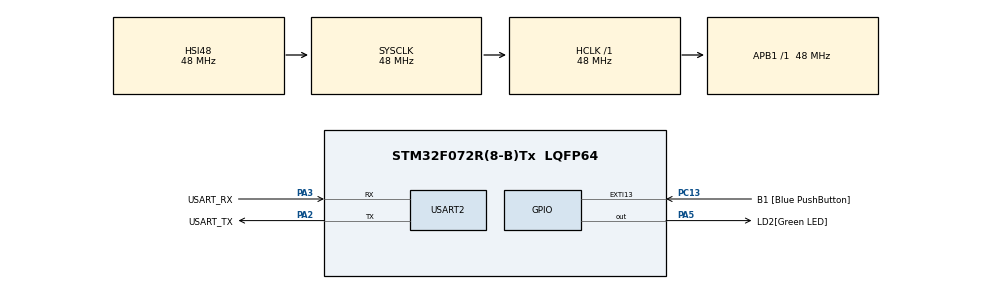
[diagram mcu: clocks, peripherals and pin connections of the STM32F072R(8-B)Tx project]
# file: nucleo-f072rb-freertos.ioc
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FREERTOS.Tasks01=uartTask,24,128,StartUARTTask,Default,NULL,Dynamic,NULL,NULL;blinkTask,16,128,StartBlinkTask,Default,NULL,Dynamic,NULL,NULL
FREERTOS.configTOTAL_HEAP_SIZE=8192
FREERTOS.configUSE_NEWLIB_REENTRANT=1
Mcu.Family=STM32F0
Mcu.Name=STM32F072R(8-B)Tx
Mcu.Package=LQFP64
NVIC.TIM6_DAC_IRQn=true\:3\:0\:false\:false\:true\:false\:false\:true\:true
NVIC.TimeBase=TIM6_DAC_IRQn
NVIC.TimeBaseIP=TIM6
NVIC.USART2_IRQn=true\:3\:0\:false\:false\:true\:true\:true\:true\:true
PA13.GPIO_Label=TMS
PA13.Mode=Serial_Wire
PA13.Signal=SYS_SWDIO
PA14.GPIO_Label=TCK
PA14.Mode=Serial_Wire
PA14.Signal=SYS_SWCLK
PA2.GPIO_Label=USART_TX
PA2.GPIO_Mode=GPIO_MODE_AF_PP
PA2.GPIO_PuPd=GPIO_NOPULL
PA2.GPIO_Speed=GPIO_SPEED_FREQ_LOW
PA2.Mode=Asynchronous
PA2.Signal=USART2_TX
PA3.GPIO_Label=USART_RX
PA3.GPIO_Mode=GPIO_MODE_AF_PP
PA3.GPIO_PuPd=GPIO_NOPULL
PA3.GPIO_Speed=GPIO_SPEED_FREQ_LOW
PA3.Mode=Asynchronous
PA3.Signal=USART2_RX
PA5.GPIO_Label=LD2[Green LED]
PA5.Signal=GPIO_Output
PC13.GPIO_Label=B1 [Blue PushButton]
PC13.GPIO_ModeDefaultEXTI=GPIO_MODE_IT_FALLING
PC13.Signal=GPXTI13
PC14-OSC32_IN.Mode=LSE-External-Oscillator
PC14-OSC32_IN.Signal=RCC_OSC32_IN
PC15-OSC32_OUT.Mode=LSE-External-Oscillator
PC15-OSC32_OUT.Signal=RCC_OSC32_OUT
PF0-OSC_IN.Mode=HSE-External-Clock-Source
PF0-OSC_IN.Signal=RCC_OSC_IN
PF1-OSC_OUT.Signal=RCC_OSC_OUT
ProjectManager.HeapSize=0x200
ProjectManager.StackSize=0x400
ProjectManager.TargetToolchain=STM32CubeIDE
RCC.AHBFreq_Value=48000000
RCC.APB1Freq_Value=48000000
RCC.APB1TimFreq_Value=48000000
RCC.FLatency-AdvancedSettings=FLASH_LATENCY_1
RCC.HCLKFreq_Value=48000000
RCC.PLLDivider=RCC_PREDIV_DIV2
RCC.PLLMUL=RCC_PLL_MUL12
RCC.PREFETCH_ENABLE-AdvancedSettings=1
RCC.SYSCLKFreq_VALUE=48000000
RCC.SYSCLKSource=RCC_SYSCLKSOURCE_HSI48
USART2.VirtualMode=VM_ASYNC
USART2.VirtualMode-Asynchronous=VM_ASYNC
VP_FREERTOS_VS_CMSIS_V2.Mode=CMSIS_V2
VP_SYS_VS_tim6.Mode=TIM6
board=NUCLEO-F072RB

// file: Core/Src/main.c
/* USER CODE BEGIN Header */
/**
  ******************************************************************************
  * @file           : main.c
  * @brief          : Main program body
  ******************************************************************************
  * @attention
  *
  * Copyright (c) 2025 STMicroelectronics.
  * All rights reserved.
  *
  * This software is licensed under terms that can be found in the LICENSE file
  * in the root directory of this software component.
  * If no LICENSE file comes with this software, it is provided AS-IS.
  *
  ******************************************************************************
  */
/* USER CODE END Header */
#include "main.h"
#include "cmsis_os.h"

/* USER CODE BEGIN Includes */
#include<stdio.h>
#include <string.h>
#include <stdbool.h>
#include "FreeRTOS.h"
#include <stdlib.h>
#include "task.h"
/* USER CODE END Includes */

UART_HandleTypeDef huart2;

/* Definitions for uartTask */
osThreadId_t uartTaskHandle;
const osThreadAttr_t uartTask_attributes = {
  .name = "uartTask",
  .stack_size = 128 * 4,
  .priority = (osPriority_t) osPriorityNormal,
};
/* Definitions for blinkTask */
osThreadId_t blinkTaskHandle;
const osThreadAttr_t blinkTask_attributes = {
  .name = "blinkTask",
  .stack_size = 128 * 4,
  .priority = (osPriority_t) osPriorityBelowNormal,
};

/* USER CODE BEGIN PV */
uint8_t tx_buf[64];
uint8_t rx_byte;
char rx_line[32];
uint8_t idx = 0;
volatile bool delay_ready = false;
volatile uint32_t led_delay = 1000;
/* USER CODE END PV */

void SystemClock_Config(void);
static void MX_GPIO_Init(void);
static void MX_USART2_UART_Init(void);
void StartUARTTask(void *argument);
void StartBlinkTask(void *argument);

int main(void)
{

  /* MCU Configuration--------------------------------------------------------*/

  /* Reset of all peripherals, Initializes the Flash interface and the Systick. */
  HAL_Init();

  /* Configure the system clock */
  SystemClock_Config();

  /* Initialize all configured peripherals */
  MX_GPIO_Init();
  MX_USART2_UART_Init();

  /* Init scheduler */
  osKernelInitialize();

  /* Create the thread(s) */
  /* creation of uartTask */
  uartTaskHandle = osThreadNew(StartUARTTask, NULL, &uartTask_attributes);

  /* creation of blinkTask */
  blinkTaskHandle = osThreadNew(StartBlinkTask, NULL, &blinkTask_attributes);

  /* Start scheduler */
  osKernelStart();

  /* We should never get here as control is now taken by the scheduler */

  /* Infinite loop */
  while (1)
  {

  }
}

void SystemClock_Config(void)
{
  RCC_OscInitTypeDef RCC_OscInitStruct = {0};
  RCC_ClkInitTypeDef RCC_ClkInitStruct = {0};
  RCC_PeriphCLKInitTypeDef PeriphClkInit = {0};

  /** Initializes the RCC Oscillators according to the specified parameters
  * in the RCC_OscInitTypeDef structure.
  */
  RCC_OscInitStruct.OscillatorType = RCC_OSCILLATORTYPE_HSI48;
  RCC_OscInitStruct.HSI48State = RCC_HSI48_ON;
  RCC_OscInitStruct.PLL.PLLState = RCC_PLL_NONE;
  if (HAL_RCC_OscConfig(&RCC_OscInitStruct) != HAL_OK)
  {
    Error_Handler();
  }

  /** Initializes the CPU, AHB and APB buses clocks
  */
  RCC_ClkInitStruct.ClockType = RCC_CLOCKTYPE_HCLK|RCC_CLOCKTYPE_SYSCLK
                              |RCC_CLOCKTYPE_PCLK1;
  RCC_ClkInitStruct.SYSCLKSource = RCC_SYSCLKSOURCE_HSI48;
  RCC_ClkInitStruct.AHBCLKDivider = RCC_SYSCLK_DIV1;
  RCC_ClkInitStruct.APB1CLKDivider = RCC_HCLK_DIV1;

  if (HAL_RCC_ClockConfig(&RCC_ClkInitStruct, FLASH_LATENCY_1) != HAL_OK)
  {
    Error_Handler();
  }
  PeriphClkInit.PeriphClockSelection = RCC_PERIPHCLK_USART2;
  PeriphClkInit.Usart2ClockSelection = RCC_USART2CLKSOURCE_PCLK1;
  if (HAL_RCCEx_PeriphCLKConfig(&PeriphClkInit) != HAL_OK)
  {
    Error_Handler();
  }
}

static void MX_USART2_UART_Init(void)
{

  huart2.Instance = USART2;
  huart2.Init.BaudRate = 38400;
  huart2.Init.WordLength = UART_WORDLENGTH_8B;
  huart2.Init.StopBits = UART_STOPBITS_1;
  huart2.Init.Parity = UART_PARITY_NONE;
  huart2.Init.Mode = UART_MODE_TX_RX;
  huart2.Init.HwFlowCtl = UART_HWCONTROL_NONE;
  huart2.Init.OverSampling = UART_OVERSAMPLING_16;
  huart2.Init.OneBitSampling = UART_ONE_BIT_SAMPLE_DISABLE;
  huart2.AdvancedInit.AdvFeatureInit = UART_ADVFEATURE_NO_INIT;
  if (HAL_UART_Init(&huart2) != HAL_OK)
  {
    Error_Handler();
  }

}

static void MX_GPIO_Init(void)
{
  GPIO_InitTypeDef GPIO_InitStruct = {0};

  /* GPIO Ports Clock Enable */
  __HAL_RCC_GPIOC_CLK_ENABLE();
  __HAL_RCC_GPIOF_CLK_ENABLE();
  __HAL_RCC_GPIOA_CLK_ENABLE();

  /*Configure GPIO pin Output Level */
  HAL_GPIO_WritePin(LD2_GPIO_Port, LD2_Pin, GPIO_PIN_RESET);

  /*Configure GPIO pin : B1_Pin */
  GPIO_InitStruct.Pin = B1_Pin;
  GPIO_InitStruct.Mode = GPIO_MODE_IT_FALLING;
  GPIO_InitStruct.Pull = GPIO_NOPULL;
  HAL_GPIO_Init(B1_GPIO_Port, &GPIO_InitStruct);

  /*Configure GPIO pin : LD2_Pin */
  GPIO_InitStruct.Pin = LD2_Pin;
  GPIO_InitStruct.Mode = GPIO_MODE_OUTPUT_PP;
  GPIO_InitStruct.Pull = GPIO_NOPULL;
  GPIO_InitStruct.Speed = GPIO_SPEED_FREQ_LOW;
  HAL_GPIO_Init(LD2_GPIO_Port, &GPIO_InitStruct);

}

/* USER CODE BEGIN 4 */
void HAL_UART_RxCpltCallback(UART_HandleTypeDef *huart) {
    if (huart->Instance == USART2) {
        if (rx_byte == '\r' || rx_byte == '\n') {
            rx_line[idx] = '\0';
            delay_ready = true;
            idx = 0;
        } else if (idx < sizeof(rx_line) - 1) {
            rx_line[idx++] = rx_byte;
        }

        // Enable next byte receive
        HAL_UART_Receive_IT(&huart2, &rx_byte, 1);
    }
}
/* USER CODE END 4 */

void StartUARTTask(void *argument)
{
    // Start UART reception
    HAL_UART_Receive_IT(&huart2, &rx_byte, 1);

    // Show prompt once at start
    strcpy((char*)tx_buf, "Enter LED delay in ms: ");
    HAL_UART_Transmit(&huart2, tx_buf, strlen((char*)tx_buf), HAL_MAX_DELAY);

    for (;;) {
        if (delay_ready) {
            delay_ready = false;
            led_delay = atoi(rx_line);

            // Show updated delay
            sprintf((char*)tx_buf, "\r\nBlinking with delay: %lu ms\r\n\r\n", led_delay);
            HAL_UART_Transmit(&huart2, tx_buf, strlen((char*)tx_buf), HAL_MAX_DELAY);

            // Show prompt again
            strcpy((char*)tx_buf, "Enter LED delay in ms: ");
            HAL_UART_Transmit(&huart2, tx_buf, strlen((char*)tx_buf), HAL_MAX_DELAY);
        }

        osDelay(10);
    }
}

void StartBlinkTask(void *argument)
{
  /* USER CODE BEGIN StartBlinkTask */
    for (;;) {
        HAL_GPIO_TogglePin(GPIOA, GPIO_PIN_5);
        osDelay(led_delay);
    }
  /* USER CODE END StartBlinkTask */
}

void HAL_TIM_PeriodElapsedCallback(TIM_HandleTypeDef *htim)
{
  if (htim->Instance == TIM6)
  {
    HAL_IncTick();
  }
}

void Error_Handler(void)
{
  __disable_irq();
  while (1)
  {
  }
}
